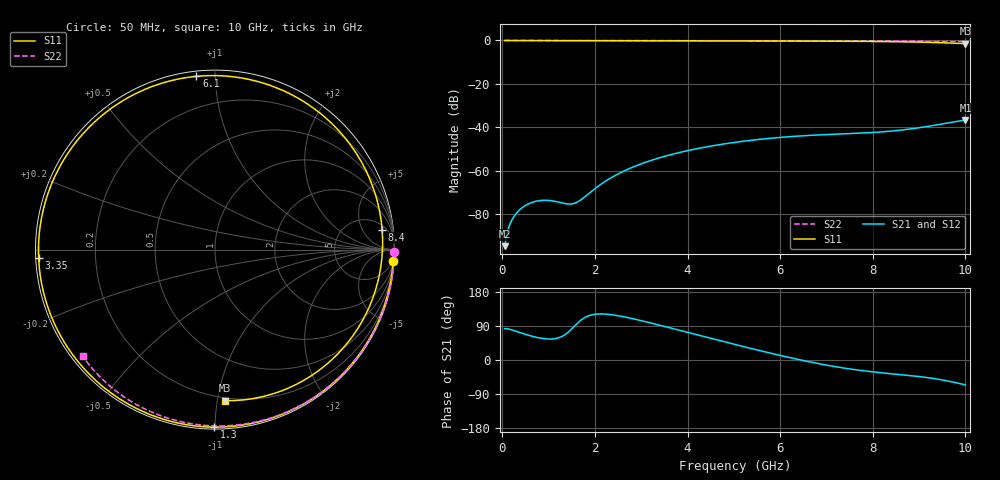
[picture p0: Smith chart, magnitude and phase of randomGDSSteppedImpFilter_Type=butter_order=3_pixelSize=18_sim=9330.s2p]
! freq	dB(S11)	phase(S11)	dB(S12)	phase(S12)
!  dB(S21)	phase(S21)	dB(S22)	phase(S22)
!S-par simulation data
#  GHz  S  DB  R 50
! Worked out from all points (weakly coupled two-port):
!   200 points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, 50 MHz to 10 GHz, reference 50 ohm
!   highest |S21| = -36.65 dB at 10 GHz (marker M1); lowest = -94.8 dB at 50 MHz (marker M2)
!   lowest |S11| = -1.5 dB at 10 GHz (marker M3), VSWR 11.80, Z = 9 - j52.6 ohm
!   |S11| at or under -10 dB: nowhere
!   |S22| runs from -0.5 to 0.0 dB; largest |S21 - S12| = 0
!   S11 on the Smith chart (normalised r, x): 50 MHz: 2, -30; 1.3 GHz: 0.01, -1.00; 3.35 GHz: 0.01, -0.02; 6.1 GHz: 0.03, +0.90; 8.4 GHz: 7, +13; 10 GHz: 0.18, -1.05
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0.05  -0.04 -3.8  -94.84 82.5  -94.84 82.5  -0.00 -0.8
0.3  -0.05 -23.0  -79.77 75.6  -79.77 75.6  -0.01 -4.9
0.5  -0.06 -37.9  -76.07 67.7  -76.07 67.7  -0.01 -8.1
0.7  -0.07 -52.2  -74.29 60.9  -74.29 60.9  -0.01 -11.3
1  -0.08 -72.2  -73.75 55.4  -73.75 55.4  -0.02 -16.2
1.3  -0.10 -90.2  -74.96 63.0  -74.96 63.0  -0.03 -21.0
1.55  -0.10 -103.9  -75.13 88.3  -75.13 88.3  -0.03 -24.9
1.75  -0.11 -114.0  -72.64 109.7  -72.64 109.7  -0.04 -28.1
2.5  -0.13 -146.7  -61.54 116.9  -61.54 116.9  -0.05 -39.8
3.35  -0.14 -177.2  -54.38 93.3  -54.38 93.3  -0.07 -52.7
3.4  -0.14 -178.8  -54.07 91.7  -54.07 91.7  -0.07 -53.4
4.2  -0.17 155.7  -49.92 66.6  -49.92 66.6  -0.09 -65.2
5.05  -0.20 129.6  -46.90 40.1  -46.90 40.1  -0.12 -77.3
6.1  -0.26 96.1  -44.53 9.3  -44.53 9.3  -0.16 -91.6
6.7  -0.30 75.5  -43.70 -6.4  -43.70 -6.4  -0.19 -99.5
7.5  -0.38 45.5  -42.95 -23.5  -42.95 -23.5  -0.24 -109.8
8.35  -0.55 9.1  -41.88 -35.6  -41.88 -35.6  -0.31 -120.6
8.4  -0.56 6.8  -41.79 -36.2  -41.79 -36.2  -0.31 -121.2
8.8  -0.69 -12.8  -40.84 -40.9  -40.84 -40.9  -0.35 -126.2
9.2  -0.88 -34.4  -39.57 -46.8  -39.57 -46.8  -0.39 -131.2
9.65  -1.17 -61.8  -37.93 -56.1  -37.93 -56.1  -0.43 -136.8
10  -1.48 -86.2  -36.65 -65.8  -36.65 -65.8  -0.47 -141.2
